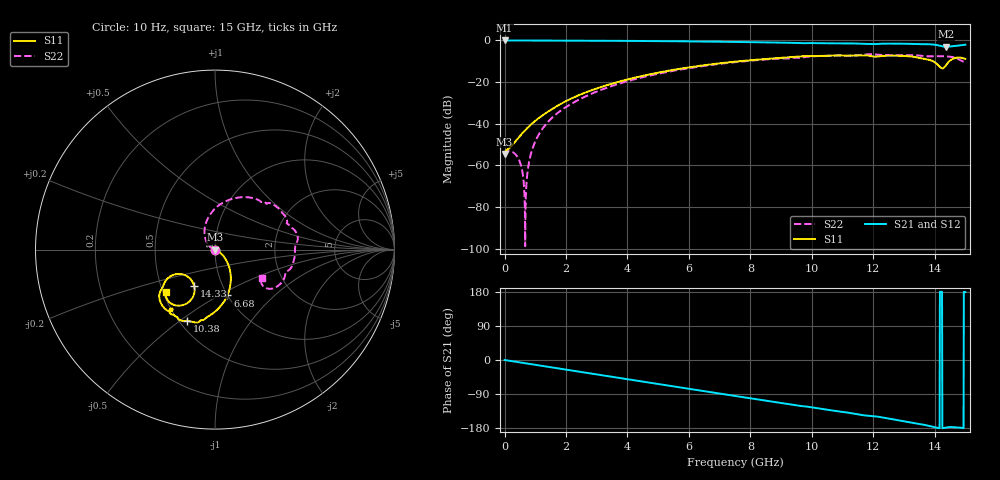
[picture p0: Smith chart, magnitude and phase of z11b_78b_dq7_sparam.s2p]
![Disclaimer] This software code/ model/ data and all associated documentation, comments
!    or other information (collectively "Software") is provided
!    "AS IS" without warranty of any kind. MICRON TECHNOLOGY, INC.
!   ("MTI") EXPRESSLY DISCLAIMS ALL WARRANTIES EXPRESS OR IMPLIED,
!    INCLUDING BUT NOT LIMITED TO, NONINFRINGEMENT OF THIRD PARTY
!   RIGHTS, AND ANY IMPLIED WARRANTIES OF MERCHANTABILITY OR FITNESS
!    FOR ANY PARTICULAR PURPOSE. MTI DOES NOT WARRANT THAT THE
!    SOFTWARE WILL MEET YOUR REQUIREMENTS, OR THAT THE OPERATION OF
!    THE SOFTWARE WILL BE UNINTERRUPTED OR ERROR-FREE. FURTHERMORE,
!    MTI DOES NOT MAKE ANY REPRESENTATIONS REGARDING THE USE OR THE
!    RESULTS OF THE USE OF THE SOFTWARE IN TERMS OF ITS CORRECTNESS,
!    ACCURACY, RELIABILITY, OR OTHERWISE. THE ENTIRE RISK ARISING OUT
!    OF USE OR PERFORMANCE OF THE SOFTWARE REMAINS WITH YOU. IN NO
!    EVENT SHALL MTI, ITS AFFILIATED COMPANIES OR THEIR SUPPLIERS BE
!    LIABLE FOR ANY DIRECT, INDIRECT, CONSEQUENTIAL, INCIDENTAL, OR
!    SPECIAL DAMAGES (INCLUDING, WITHOUT LIMITATION, DAMAGES FOR LOSS
!    OF PROFITS, BUSINESS INTERRUPTION, OR LOSS OF INFORMATION)
!    ARISING OUT OF YOUR USE OF OR INABILITY TO USE THE SOFTWARE,
!    EVEN IF MTI HAS BEEN ADVISED OF THE POSSIBILITY OF SUCH DAMAGES.
!    Because some jurisdictions prohibit the exclusion or limitation
!    of liability for consequential or incidental damages, the above
!    limitation may not apply to you.
!    Copyright 2019 Micron Technology, Inc. All rights reserved.
! Single-ended  S-parameters
!NUMBER OF PORTS = 2
!  PORT#  PORT_NAME  NET_NAME
! PORT1:  DQ7.BGA.VDDQ_VSS DQ7
! PORT2:  DQ7.Z11B_DIE.VDDQ_VSS DQ7
# HZ S  RI R 5.000000e+001
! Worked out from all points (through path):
!   1701 points, 10 Hz to 15 GHz, reference 50 ohm
!   highest |S21| = -0.02 dB at 5.412 kHz (marker M1); lowest = -3.1 dB at 14.37 GHz (marker M2)
!   group delay of S21, straight-line fit = 34.5 ps
!   lowest |S11| = -54.6 dB at 10 Hz (marker M3), VSWR 1.00, Z = 50.2 + j5.21e-08 ohm
!   |S11| at or under -10 dB: start of sweep to 7.646 GHz; 13.95 GHz to 14.48 GHz (531.6 MHz wide, 3.74 % of centre)
!   |S22| runs from -98.8 to -6.6 dB; largest |S21 - S12| = 0
!   S11 on the Smith chart (normalised r, x): 10 Hz: 1.00, +0.00; 6.68 GHz: 1.00, -0.55; 10.38 GHz: 0.55, -0.53; 14.33 GHz: 0.74, -0.31; 15 GHz: 0.52, -0.28
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10  0.00187 5.19e-10  0.9981 -2.91e-09  0.9981 -2.91e-09  0.00187 5.22e-10
5411.7  0.00187 2.81e-07  0.9981 -1.57e-06  0.9981 -1.57e-06  0.00187 2.83e-07
1.5e8  0.00259 3.86e-05  0.9966 -0.0341  0.9966 -0.0341  0.00225 0.00017
4.1e8  0.00422 -0.000483  0.9916 -0.0922  0.9916 -0.0922  0.00162 0.00013
5.2e8  0.00522 -0.000919  0.9884 -0.1164  0.9884 -0.1164  0.00108 7.21e-05
6.1e8  0.00614 -0.00137  0.9854 -0.136  0.9854 -0.136  0.000477 2.87e-05
6.7e8  0.0068 -0.00172  0.9831 -0.149  0.9831 -0.149  -9.43e-07 1.14e-05
7.2e8  0.00737 -0.00203  0.9812 -0.1597  0.9812 -0.1597  -0.000448 8.93e-06
8.7e8  0.00922 -0.0031  0.9746 -0.1918  0.9746 -0.1918  -0.00205 9.9e-05
1.17e9  0.0135 -0.00574  0.9586 -0.2551  0.9586 -0.2551  -0.00637 0.000977
1.69e9  0.0231 -0.012  0.921 -0.3619  0.921 -0.3619  -0.0162 0.00585
2.51e9  0.0421 -0.0299  0.8376 -0.5184  0.8376 -0.5184  -0.0341 0.0224
5.01e9  0.0877 -0.1443  0.4309 -0.8614  0.4309 -0.8614  -0.0495 0.1511
6.68e9  0.0689 -0.2554  0.0886 -0.9322  0.0886 -0.9322  0.0317 0.2539
7.51e9  0.0369 -0.3067  -0.0794 -0.9159  -0.0794 -0.9159  0.1004 0.2837
1.001e10  -0.1289 -0.4016  -0.4972 -0.7052  -0.4972 -0.7052  0.3327 0.2463
1.038e10  -0.1536 -0.3954  -0.5464 -0.6579  -0.5464 -0.6579  0.3671 0.2146
1.251e10  -0.2688 -0.3373  -0.7573 -0.3565  -0.7573 -0.3565  0.4464 0.00287
1.382e10  -0.2845 -0.1911  -0.8045 -0.0851  -0.8045 -0.0851  0.395 -0.1248
1.433e10  -0.1165 -0.2006  -0.7046 -0.0136  -0.7046 -0.0136  0.3755 -0.1782
1.437e10  -0.1135 -0.2266  -0.7025 -0.022  -0.7025 -0.022  0.3711 -0.1837
1.5e10  -0.2738 -0.2351  -0.7886 0.0117  -0.7886 0.0117  0.2591 -0.1586
